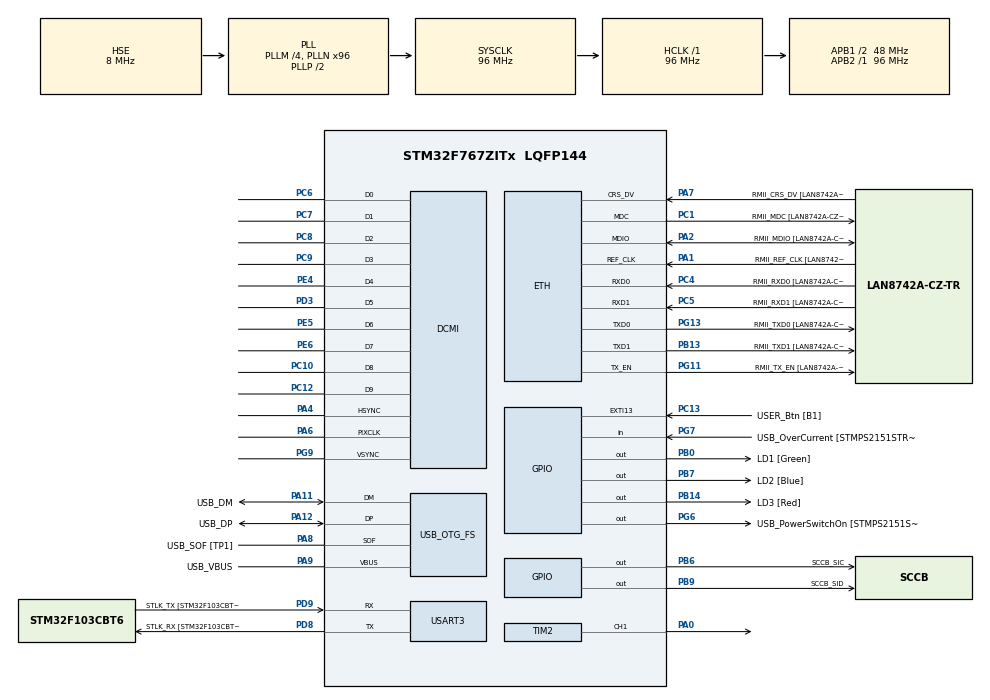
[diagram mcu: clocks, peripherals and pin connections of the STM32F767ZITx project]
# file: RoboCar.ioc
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DCMI.CaptureRate=DCMI_CR_ALTERNATE_4_FRAME
DCMI.PCKPolarity=DCMI_PCKPOLARITY_RISING
DCMI.VSPolarity=DCMI_VSPOLARITY_HIGH
Dma.DCMI.0.Direction=DMA_PERIPH_TO_MEMORY
Dma.DCMI.0.FIFOMode=DMA_FIFOMODE_DISABLE
Dma.DCMI.0.Instance=DMA2_Stream1
Dma.DCMI.0.MemDataAlignment=DMA_MDATAALIGN_WORD
Dma.DCMI.0.MemInc=DMA_MINC_ENABLE
Dma.DCMI.0.Mode=DMA_NORMAL
Dma.DCMI.0.PeriphDataAlignment=DMA_PDATAALIGN_WORD
Dma.DCMI.0.PeriphInc=DMA_PINC_DISABLE
Dma.DCMI.0.Priority=DMA_PRIORITY_HIGH
Dma.Request0=DCMI
ETH.MediaInterface=ETH_MEDIA_INTERFACE_RMII
ETH.PHY_Name=LAN8742A_PHY_ADDRESS
ETH.PHY_Value=0
ETH.PhyAddress=0
Mcu.Family=STM32F7
Mcu.Name=STM32F767ZITx
Mcu.Package=LQFP144
NVIC.DMA2_Stream1_IRQn=true\:0\:0\:false\:false\:true\:false\:true
NVIC.PriorityGroup=NVIC_PRIORITYGROUP_4
NVIC.TIM3_IRQn=true\:0\:0\:false\:false\:true\:false\:true
NVIC.TimeBase=TIM3_IRQn
NVIC.TimeBaseIP=TIM3
PA0/WKUP.Signal=S_TIM2_CH1_ETR
PA1.GPIO_Label=RMII_REF_CLK [LAN8742A-CZ-TR_REFCLK0]
PA1.Mode=RMII
PA1.Signal=ETH_REF_CLK
PA10.GPIO_Label=USB_ID
PA10.Signal=USB_OTG_FS_ID
PA11.GPIO_Label=USB_DM
PA11.Mode=Device_Only
PA11.Signal=USB_OTG_FS_DM
PA12.GPIO_Label=USB_DP
PA12.Mode=Device_Only
PA12.Signal=USB_OTG_FS_DP
PA13.GPIO_Label=TMS
PA13.Mode=Serial_Wire
PA13.Signal=SYS_JTMS-SWDIO
PA14.GPIO_Label=TCK
PA14.Mode=Serial_Wire
PA14.Signal=SYS_JTCK-SWCLK
PA2.GPIO_Label=RMII_MDIO [LAN8742A-CZ-TR_MDIO]
PA2.Mode=RMII
PA2.Signal=ETH_MDIO
PA4.Mode=Slave_10_bits_External_Synchro
PA4.Signal=DCMI_HSYNC
PA6.Mode=Slave_10_bits_External_Synchro
PA6.Signal=DCMI_PIXCLK
PA7.GPIO_Label=RMII_CRS_DV [LAN8742A-CZ-TR_CRS_DV]
PA7.Mode=RMII
PA7.Signal=ETH_CRS_DV
PA8.GPIO_Label=USB_SOF [TP1]
PA8.Mode=Activate_SOF_FS
PA8.Signal=USB_OTG_FS_SOF
PA9.GPIO_Label=USB_VBUS
PA9.Mode=Activate_VBUS
PA9.Signal=USB_OTG_FS_VBUS
PB0.GPIO_Label=LD1 [Green]
PB0.Signal=GPIO_Output
PB13.GPIO_Label=RMII_TXD1 [LAN8742A-CZ-TR_TXD1]
PB13.Mode=RMII
PB13.Signal=ETH_TXD1
PB14.GPIO_Label=LD3 [Red]
PB14.Signal=GPIO_Output
PB3.GPIO_Label=SWO
PB3.Signal=SYS_JTDO-SWO
PB6.GPIO_Label=SCCB_SIC
PB6.GPIO_ModeDefaultOutputPP=GPIO_MODE_OUTPUT_OD
PB6.GPIO_Speed=GPIO_SPEED_FREQ_VERY_HIGH
PB6.PinState=GPIO_PIN_SET
PB6.Signal=GPIO_Output
PB7.GPIO_Label=LD2 [Blue]
PB7.Signal=GPIO_Output
PB9.GPIO_Label=SCCB_SID
PB9.GPIO_ModeDefaultOutputPP=GPIO_MODE_OUTPUT_OD
PB9.GPIO_Speed=GPIO_SPEED_FREQ_VERY_HIGH
PB9.PinState=GPIO_PIN_SET
PB9.Signal=GPIO_Output
PC1.GPIO_Label=RMII_MDC [LAN8742A-CZ-TR_MDC]
PC1.Mode=RMII
PC1.Signal=ETH_MDC
PC10.Mode=Slave_10_bits_External_Synchro
PC10.Signal=DCMI_D8
PC12.Mode=Slave_10_bits_External_Synchro
PC12.Signal=DCMI_D9
PC13.GPIO_Label=USER_Btn [B1]
PC13.Signal=GPXTI13
PC14/OSC32_IN.Mode=LSE-External-Oscillator
PC14/OSC32_IN.Signal=RCC_OSC32_IN
PC15/OSC32_OUT.Mode=LSE-External-Oscillator
PC15/OSC32_OUT.Signal=RCC_OSC32_OUT
PC4.GPIO_Label=RMII_RXD0 [LAN8742A-CZ-TR_RXD0]
PC4.Mode=RMII
PC4.Signal=ETH_RXD0
PC5.GPIO_Label=RMII_RXD1 [LAN8742A-CZ-TR_RXD1]
PC5.Mode=RMII
PC5.Signal=ETH_RXD1
PC6.Mode=Slave_10_bits_External_Synchro
PC6.Signal=DCMI_D0
PC7.Mode=Slave_10_bits_External_Synchro
PC7.Signal=DCMI_D1
PC8.Mode=Slave_10_bits_External_Synchro
PC8.Signal=DCMI_D2
PC9.Mode=Slave_10_bits_External_Synchro
PC9.Signal=DCMI_D3
PD3.Mode=Slave_10_bits_External_Synchro
PD3.Signal=DCMI_D5
PD8.GPIO_Label=STLK_RX [STM32F103CBT6_PA3]
PD8.Mode=Asynchronous
PD8.Signal=USART3_TX
PD9.GPIO_Label=STLK_TX [STM32F103CBT6_PA2]
PD9.Mode=Asynchronous
PD9.Signal=USART3_RX
PE4.Mode=Slave_10_bits_External_Synchro
PE4.Signal=DCMI_D4
PE5.Mode=Slave_10_bits_External_Synchro
PE5.Signal=DCMI_D6
PE6.Mode=Slave_10_bits_External_Synchro
PE6.Signal=DCMI_D7
PG11.GPIO_Label=RMII_TX_EN [LAN8742A-CZ-TR_TXEN]
PG11.Mode=RMII
PG11.Signal=ETH_TX_EN
PG13.GPIO_Label=RMII_TXD0 [LAN8742A-CZ-TR_TXD0]
PG13.Mode=RMII
PG13.Signal=ETH_TXD0
PG6.GPIO_Label=USB_PowerSwitchOn [STMPS2151STR_EN]
PG6.Signal=GPIO_Output
PG7.GPIO_Label=USB_OverCurrent [STMPS2151STR_FAULT]
PG7.Signal=GPIO_Input
PG9.Mode=Slave_10_bits_External_Synchro
PG9.Signal=DCMI_VSYNC
PH0/OSC_IN.GPIO_Label=MCO [STM32F103CBT6_PA8]
PH0/OSC_IN.Mode=HSE-External-Clock-Source
PH0/OSC_IN.Signal=RCC_OSC_IN
PH1/OSC_OUT.Mode=HSE-External-Clock-Source
PH1/OSC_OUT.Signal=RCC_OSC_OUT
ProjectManager.HeapSize=0x200
ProjectManager.StackSize=0x400
ProjectManager.TargetToolchain=STM32CubeIDE
RCC.48MHZClocksFreq_Value=24000000
RCC.AHBFreq_Value=96000000
RCC.APB1CLKDivider=RCC_HCLK_DIV2
RCC.APB1Freq_Value=48000000
RCC.APB1TimFreq_Value=96000000
RCC.APB2Freq_Value=96000000
RCC.APB2TimFreq_Value=96000000
RCC.CortexFreq_Value=96000000
RCC.HCLKFreq_Value=96000000
RCC.HSE_VALUE=8000000
RCC.HSI_VALUE=16000000
RCC.PLLM=4
RCC.PLLMUL=RCC_PLL_MUL9
RCC.PLLN=96
RCC.PLLQ=4
RCC.PRESCALERUSB=RCC_USBCLKSOURCE_PLL_DIV1_5
RCC.SYSCLKFreq_VALUE=96000000
RCC.SYSCLKSource=RCC_SYSCLKSOURCE_PLLCLK
RCC.SYSCLKSourceVirtual=RCC_SYSCLKSOURCE_PLLCLK
RCC.USBFreq_Value=48000000
RCC.VCOOutputFreq_Value=192000000
SH.S_TIM2_CH1_ETR.0=TIM2_CH1,PWM Generation1 CH1
TIM1.Prescaler=0
TIM2.Channel-PWM\ Generation1\ CH1=TIM_CHANNEL_1
TIM2.Period=4
TIM2.Prescaler=0
TIM2.Pulse-PWM\ Generation1\ CH1=2
USART3.VirtualMode-Asynchronous=VM_ASYNC
USB_OTG_FS.VirtualMode=Device_Only
VP_SYS_VS_tim3.Mode=TIM3
VP_TIM1_VS_ClockSourceINT.Mode=Internal
board=NUCLEO-F767ZI

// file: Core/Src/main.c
/* USER CODE BEGIN Header */
/**
  ******************************************************************************
  * @file           : main.c
  * @brief          : Main program body
  ******************************************************************************
  * @attention
  *
  * <h2><center>&copy; Copyright (c) 2020 STMicroelectronics.
  * All rights reserved.</center></h2>
  *
  * This software component is licensed by ST under BSD 3-Clause license,
  * the "License"; You may not use this file except in compliance with the
  * License. You may obtain a copy of the License at:
  *                        opensource.org/licenses/BSD-3-Clause
  *
  ******************************************************************************
  */
/* USER CODE END Header */
#include "main.h"

/* USER CODE BEGIN Includes */
#include "cambus.h"
#include "ov7725.h"
#include "delay.h"
#include "sccb.h"
/* USER CODE END Includes */

/* USER CODE BEGIN PD */
#define IMG_SIZE (250*330)
/* USER CODE END PD */

DCMI_HandleTypeDef hdcmi;
DMA_HandleTypeDef hdma_dcmi;

ETH_HandleTypeDef heth;

TIM_HandleTypeDef htim1;
TIM_HandleTypeDef htim2;

UART_HandleTypeDef huart3;

PCD_HandleTypeDef hpcd_USB_OTG_FS;

/* USER CODE BEGIN PV */
void HAL_DCMI_LineEventCallback(DCMI_HandleTypeDef *hdcmi)
{
	HAL_GPIO_WritePin(LD2_GPIO_Port, LD2_Pin, GPIO_PIN_SET);
}

void HAL_DCMI_FrameEventCallback(DCMI_HandleTypeDef *hdcmi)
{
	HAL_GPIO_WritePin(LD1_GPIO_Port, LD1_Pin, GPIO_PIN_SET);
}

/* USER CODE END PV */

void SystemClock_Config(void);
static void MX_GPIO_Init(void);
static void MX_DMA_Init(void);
static void MX_ETH_Init(void);
static void MX_USART3_UART_Init(void);
static void MX_USB_OTG_FS_PCD_Init(void);
static void MX_DCMI_Init(void);
static void MX_TIM1_Init(void);
static void MX_TIM2_Init(void);

/* USER CODE BEGIN 0 */

uint8_t img[IMG_SIZE] = {0};

/* USER CODE END 0 */

int main(void)
{

  /* MCU Configuration--------------------------------------------------------*/

  /* Reset of all peripherals, Initializes the Flash interface and the Systick. */
  HAL_Init();

  /* Configure the system clock */
  SystemClock_Config();

  /* Initialize all configured peripherals */
  MX_GPIO_Init();
  MX_DMA_Init();
  MX_ETH_Init();
  MX_USART3_UART_Init();
  MX_USB_OTG_FS_PCD_Init();
  MX_DCMI_Init();
  MX_TIM1_Init();
  MX_TIM2_Init();
  /* USER CODE BEGIN 2 */

  HAL_TIM_Base_Start(&htim1);
  HAL_TIM_PWM_Start(&htim2, TIM_CHANNEL_1);
  delay_us_init(&htim1);
  delay_us(5);

  uint8_t data;
  sccb_read(0x0A, &data);

//  SCCB_SID_H();
//  SCCB_SIC_H();
//  delay_us(1);

  // SCL is high, set SDA from 1 to 0.

//  SCCB_SID_L();
//  delay_us(3);
//  SCCB_SIC_L();
//  delay_us(4);

//  uint8_t err = set_framesize();
//  if (!err) HAL_GPIO_WritePin(LD1_GPIO_Port, LD1_Pin, GPIO_PIN_SET);
//
//  err = set_pixformat();
//  if (!err) HAL_GPIO_WritePin(LD2_GPIO_Port, LD2_Pin, GPIO_PIN_SET);
//
//  if (HAL_DCMI_Start_DMA(&hdcmi, DCMI_MODE_CONTINUOUS, (uint32_t)img, IMG_SIZE) != HAL_OK) {
//	  HAL_GPIO_WritePin(LD3_GPIO_Port, LD3_Pin, GPIO_PIN_SET);
//  }

  HAL_Delay(1000);
  HAL_GPIO_WritePin(LD1_GPIO_Port, LD1_Pin, GPIO_PIN_SET);
  HAL_GPIO_WritePin(LD2_GPIO_Port, LD2_Pin, GPIO_PIN_SET);
  HAL_GPIO_WritePin(LD3_GPIO_Port, LD3_Pin, GPIO_PIN_SET);
  /* USER CODE END 2 */

  /* Infinite loop */
  /* USER CODE BEGIN WHILE */
	while (1)
	{
	  HAL_Delay(10);
//	  if (HAL_DMA_GetState(&hdma_dcmi) == HAL_DMA_STATE_BUSY)
//		  HAL_GPIO_WritePin(LD3_GPIO_Port, LD3_Pin, GPIO_PIN_SET);
//	  else
//		  HAL_GPIO_WritePin(LD3_GPIO_Port, LD3_Pin, GPIO_PIN_RESET);
//
//	  if (HAL_DCMI_GetState(&hdcmi) == HAL_DCMI_STATE_BUSY)
//			  HAL_GPIO_WritePin(LD2_GPIO_Port, LD2_Pin, GPIO_PIN_SET);
//		  else
//			  HAL_GPIO_WritePin(LD2_GPIO_Port, LD2_Pin, GPIO_PIN_RESET);
    /* USER CODE END WHILE */

	}
}

void SystemClock_Config(void)
{
  RCC_OscInitTypeDef RCC_OscInitStruct = {0};
  RCC_ClkInitTypeDef RCC_ClkInitStruct = {0};
  RCC_PeriphCLKInitTypeDef PeriphClkInitStruct = {0};

  /** Configure LSE Drive Capability
  */
  HAL_PWR_EnableBkUpAccess();
  /** Configure the main internal regulator output voltage
  */
  __HAL_RCC_PWR_CLK_ENABLE();
  __HAL_PWR_VOLTAGESCALING_CONFIG(PWR_REGULATOR_VOLTAGE_SCALE3);
  /** Initializes the RCC Oscillators according to the specified parameters
  * in the RCC_OscInitTypeDef structure.
  */
  RCC_OscInitStruct.OscillatorType = RCC_OSCILLATORTYPE_HSE;
  RCC_OscInitStruct.HSEState = RCC_HSE_BYPASS;
  RCC_OscInitStruct.PLL.PLLState = RCC_PLL_ON;
  RCC_OscInitStruct.PLL.PLLSource = RCC_PLLSOURCE_HSE;
  RCC_OscInitStruct.PLL.PLLM = 4;
  RCC_OscInitStruct.PLL.PLLN = 96;
  RCC_OscInitStruct.PLL.PLLP = RCC_PLLP_DIV2;
  RCC_OscInitStruct.PLL.PLLQ = 4;
  if (HAL_RCC_OscConfig(&RCC_OscInitStruct) != HAL_OK)
  {
    Error_Handler();
  }
  /** Activate the Over-Drive mode
  */
  if (HAL_PWREx_EnableOverDrive() != HAL_OK)
  {
    Error_Handler();
  }
  /** Initializes the CPU, AHB and APB buses clocks
  */
  RCC_ClkInitStruct.ClockType = RCC_CLOCKTYPE_HCLK|RCC_CLOCKTYPE_SYSCLK
                              |RCC_CLOCKTYPE_PCLK1|RCC_CLOCKTYPE_PCLK2;
  RCC_ClkInitStruct.SYSCLKSource = RCC_SYSCLKSOURCE_PLLCLK;
  RCC_ClkInitStruct.AHBCLKDivider = RCC_SYSCLK_DIV1;
  RCC_ClkInitStruct.APB1CLKDivider = RCC_HCLK_DIV2;
  RCC_ClkInitStruct.APB2CLKDivider = RCC_HCLK_DIV1;

  if (HAL_RCC_ClockConfig(&RCC_ClkInitStruct, FLASH_LATENCY_3) != HAL_OK)
  {
    Error_Handler();
  }
  PeriphClkInitStruct.PeriphClockSelection = RCC_PERIPHCLK_USART3|RCC_PERIPHCLK_CLK48;
  PeriphClkInitStruct.Usart3ClockSelection = RCC_USART3CLKSOURCE_PCLK1;
  PeriphClkInitStruct.Clk48ClockSelection = RCC_CLK48SOURCE_PLL;
  if (HAL_RCCEx_PeriphCLKConfig(&PeriphClkInitStruct) != HAL_OK)
  {
    Error_Handler();
  }
}

static void MX_DCMI_Init(void)
{

  hdcmi.Instance = DCMI;
  hdcmi.Init.SynchroMode = DCMI_SYNCHRO_HARDWARE;
  hdcmi.Init.PCKPolarity = DCMI_PCKPOLARITY_RISING;
  hdcmi.Init.VSPolarity = DCMI_VSPOLARITY_HIGH;
  hdcmi.Init.HSPolarity = DCMI_HSPOLARITY_LOW;
  hdcmi.Init.CaptureRate = DCMI_CR_ALTERNATE_4_FRAME;
  hdcmi.Init.ExtendedDataMode = DCMI_EXTEND_DATA_10B;
  hdcmi.Init.JPEGMode = DCMI_JPEG_DISABLE;
  hdcmi.Init.ByteSelectMode = DCMI_BSM_ALL;
  hdcmi.Init.ByteSelectStart = DCMI_OEBS_ODD;
  hdcmi.Init.LineSelectMode = DCMI_LSM_ALL;
  hdcmi.Init.LineSelectStart = DCMI_OELS_ODD;
  if (HAL_DCMI_Init(&hdcmi) != HAL_OK)
  {
    Error_Handler();
  }

}

static void MX_ETH_Init(void)
{

  heth.Instance = ETH;
  heth.Init.AutoNegotiation = ETH_AUTONEGOTIATION_ENABLE;
  heth.Init.PhyAddress = LAN8742A_PHY_ADDRESS;
  heth.Init.MACAddr[0] =   0x00;
  heth.Init.MACAddr[1] =   0x80;
  heth.Init.MACAddr[2] =   0xE1;
  heth.Init.MACAddr[3] =   0x00;
  heth.Init.MACAddr[4] =   0x00;
  heth.Init.MACAddr[5] =   0x00;
  heth.Init.RxMode = ETH_RXPOLLING_MODE;
  heth.Init.ChecksumMode = ETH_CHECKSUM_BY_HARDWARE;
  heth.Init.MediaInterface = ETH_MEDIA_INTERFACE_RMII;

  if (HAL_ETH_Init(&heth) != HAL_OK)
  {
    Error_Handler();
  }

}

static void MX_TIM1_Init(void)
{

  TIM_ClockConfigTypeDef sClockSourceConfig = {0};
  TIM_MasterConfigTypeDef sMasterConfig = {0};

  htim1.Instance = TIM1;
  htim1.Init.Prescaler = 0;
  htim1.Init.CounterMode = TIM_COUNTERMODE_UP;
  htim1.Init.Period = 65535;
  htim1.Init.ClockDivision = TIM_CLOCKDIVISION_DIV1;
  htim1.Init.RepetitionCounter = 0;
  htim1.Init.AutoReloadPreload = TIM_AUTORELOAD_PRELOAD_DISABLE;
  if (HAL_TIM_Base_Init(&htim1) != HAL_OK)
  {
    Error_Handler();
  }
  sClockSourceConfig.ClockSource = TIM_CLOCKSOURCE_INTERNAL;
  if (HAL_TIM_ConfigClockSource(&htim1, &sClockSourceConfig) != HAL_OK)
  {
    Error_Handler();
  }
  sMasterConfig.MasterOutputTrigger = TIM_TRGO_RESET;
  sMasterConfig.MasterOutputTrigger2 = TIM_TRGO2_RESET;
  sMasterConfig.MasterSlaveMode = TIM_MASTERSLAVEMODE_DISABLE;
  if (HAL_TIMEx_MasterConfigSynchronization(&htim1, &sMasterConfig) != HAL_OK)
  {
    Error_Handler();
  }

}

static void MX_TIM2_Init(void)
{

  /* USER CODE BEGIN TIM2_Init 0 */
    int frequency = 16000000;
    int pclk = HAL_RCC_GetPCLK2Freq();
    int period = (pclk / frequency) - 1;
  /* USER CODE END TIM2_Init 0 */

  TIM_MasterConfigTypeDef sMasterConfig = {0};
  TIM_OC_InitTypeDef sConfigOC = {0};

  htim2.Instance = TIM2;
  htim2.Init.Prescaler = 0;
  htim2.Init.CounterMode = TIM_COUNTERMODE_UP;
  htim2.Init.Period = 4;
  htim2.Init.ClockDivision = TIM_CLOCKDIVISION_DIV1;
  htim2.Init.AutoReloadPreload = TIM_AUTORELOAD_PRELOAD_DISABLE;
  if (HAL_TIM_PWM_Init(&htim2) != HAL_OK)
  {
    Error_Handler();
  }
  sMasterConfig.MasterOutputTrigger = TIM_TRGO_RESET;
  sMasterConfig.MasterSlaveMode = TIM_MASTERSLAVEMODE_DISABLE;
  if (HAL_TIMEx_MasterConfigSynchronization(&htim2, &sMasterConfig) != HAL_OK)
  {
    Error_Handler();
  }
  sConfigOC.OCMode = TIM_OCMODE_PWM1;
  sConfigOC.Pulse = 2;
  sConfigOC.OCPolarity = TIM_OCPOLARITY_HIGH;
  sConfigOC.OCFastMode = TIM_OCFAST_DISABLE;
  if (HAL_TIM_PWM_ConfigChannel(&htim2, &sConfigOC, TIM_CHANNEL_1) != HAL_OK)
  {
    Error_Handler();
  }
  HAL_TIM_MspPostInit(&htim2);

}

static void MX_USART3_UART_Init(void)
{

  huart3.Instance = USART3;
  huart3.Init.BaudRate = 115200;
  huart3.Init.WordLength = UART_WORDLENGTH_8B;
  huart3.Init.StopBits = UART_STOPBITS_1;
  huart3.Init.Parity = UART_PARITY_NONE;
  huart3.Init.Mode = UART_MODE_TX_RX;
  huart3.Init.HwFlowCtl = UART_HWCONTROL_NONE;
  huart3.Init.OverSampling = UART_OVERSAMPLING_16;
  huart3.Init.OneBitSampling = UART_ONE_BIT_SAMPLE_DISABLE;
  huart3.AdvancedInit.AdvFeatureInit = UART_ADVFEATURE_NO_INIT;
  if (HAL_UART_Init(&huart3) != HAL_OK)
  {
    Error_Handler();
  }

}

static void MX_USB_OTG_FS_PCD_Init(void)
{

  hpcd_USB_OTG_FS.Instance = USB_OTG_FS;
  hpcd_USB_OTG_FS.Init.dev_endpoints = 6;
  hpcd_USB_OTG_FS.Init.speed = PCD_SPEED_FULL;
  hpcd_USB_OTG_FS.Init.dma_enable = DISABLE;
  hpcd_USB_OTG_FS.Init.phy_itface = PCD_PHY_EMBEDDED;
  hpcd_USB_OTG_FS.Init.Sof_enable = ENABLE;
  hpcd_USB_OTG_FS.Init.low_power_enable = DISABLE;
  hpcd_USB_OTG_FS.Init.lpm_enable = DISABLE;
  hpcd_USB_OTG_FS.Init.vbus_sensing_enable = ENABLE;
  hpcd_USB_OTG_FS.Init.use_dedicated_ep1 = DISABLE;
  if (HAL_PCD_Init(&hpcd_USB_OTG_FS) != HAL_OK)
  {
    Error_Handler();
  }

}

static void MX_DMA_Init(void)
{

  /* DMA controller clock enable */
  __HAL_RCC_DMA2_CLK_ENABLE();

  /* DMA interrupt init */
  /* DMA2_Stream1_IRQn interrupt configuration */
  HAL_NVIC_SetPriority(DMA2_Stream1_IRQn, 0, 0);
  HAL_NVIC_EnableIRQ(DMA2_Stream1_IRQn);

}

static void MX_GPIO_Init(void)
{
  LL_EXTI_InitTypeDef EXTI_InitStruct = {0};
  LL_GPIO_InitTypeDef GPIO_InitStruct = {0};

  /* GPIO Ports Clock Enable */
  LL_AHB1_GRP1_EnableClock(LL_AHB1_GRP1_PERIPH_GPIOE);
  LL_AHB1_GRP1_EnableClock(LL_AHB1_GRP1_PERIPH_GPIOC);
  LL_AHB1_GRP1_EnableClock(LL_AHB1_GRP1_PERIPH_GPIOH);
  LL_AHB1_GRP1_EnableClock(LL_AHB1_GRP1_PERIPH_GPIOA);
  LL_AHB1_GRP1_EnableClock(LL_AHB1_GRP1_PERIPH_GPIOB);
  LL_AHB1_GRP1_EnableClock(LL_AHB1_GRP1_PERIPH_GPIOD);
  LL_AHB1_GRP1_EnableClock(LL_AHB1_GRP1_PERIPH_GPIOG);

  /**/
  LL_GPIO_ResetOutputPin(LD1_GPIO_Port, LD1_Pin);

  /**/
  LL_GPIO_ResetOutputPin(LD3_GPIO_Port, LD3_Pin);

  /**/
  LL_GPIO_ResetOutputPin(USB_PowerSwitchOn_GPIO_Port, USB_PowerSwitchOn_Pin);

  /**/
  LL_GPIO_ResetOutputPin(LD2_GPIO_Port, LD2_Pin);

  /**/
  LL_GPIO_SetOutputPin(SCCB_SIC_GPIO_Port, SCCB_SIC_Pin);

  /**/
  LL_GPIO_SetOutputPin(SCCB_SID_GPIO_Port, SCCB_SID_Pin);

  /**/
  LL_SYSCFG_SetEXTISource(LL_SYSCFG_EXTI_PORTC, LL_SYSCFG_EXTI_LINE13);

  /**/
  EXTI_InitStruct.Line_0_31 = LL_EXTI_LINE_13;
  EXTI_InitStruct.LineCommand = ENABLE;
  EXTI_InitStruct.Mode = LL_EXTI_MODE_IT;
  EXTI_InitStruct.Trigger = LL_EXTI_TRIGGER_RISING;
  LL_EXTI_Init(&EXTI_InitStruct);

  /**/
  LL_GPIO_SetPinPull(USER_Btn_GPIO_Port, USER_Btn_Pin, LL_GPIO_PULL_NO);

  /**/
  LL_GPIO_SetPinMode(USER_Btn_GPIO_Port, USER_Btn_Pin, LL_GPIO_MODE_INPUT);

  /**/
  GPIO_InitStruct.Pin = LD1_Pin;
  GPIO_InitStruct.Mode = LL_GPIO_MODE_OUTPUT;
  GPIO_InitStruct.Speed = LL_GPIO_SPEED_FREQ_LOW;
  GPIO_InitStruct.OutputType = LL_GPIO_OUTPUT_PUSHPULL;
  GPIO_InitStruct.Pull = LL_GPIO_PULL_NO;
  LL_GPIO_Init(LD1_GPIO_Port, &GPIO_InitStruct);

  /**/
  GPIO_InitStruct.Pin = LD3_Pin;
  GPIO_InitStruct.Mode = LL_GPIO_MODE_OUTPUT;
  GPIO_InitStruct.Speed = LL_GPIO_SPEED_FREQ_LOW;
  GPIO_InitStruct.OutputType = LL_GPIO_OUTPUT_PUSHPULL;
  GPIO_InitStruct.Pull = LL_GPIO_PULL_NO;
  LL_GPIO_Init(LD3_GPIO_Port, &GPIO_InitStruct);

  /**/
  GPIO_InitStruct.Pin = USB_PowerSwitchOn_Pin;
  GPIO_InitStruct.Mode = LL_GPIO_MODE_OUTPUT;
  GPIO_InitStruct.Speed = LL_GPIO_SPEED_FREQ_LOW;
  GPIO_InitStruct.OutputType = LL_GPIO_OUTPUT_PUSHPULL;
  GPIO_InitStruct.Pull = LL_GPIO_PULL_NO;
  LL_GPIO_Init(USB_PowerSwitchOn_GPIO_Port, &GPIO_InitStruct);

  /**/
  GPIO_InitStruct.Pin = USB_OverCurrent_Pin;
  GPIO_InitStruct.Mode = LL_GPIO_MODE_INPUT;
  GPIO_InitStruct.Pull = LL_GPIO_PULL_NO;
  LL_GPIO_Init(USB_OverCurrent_GPIO_Port, &GPIO_InitStruct);

  /**/
  GPIO_InitStruct.Pin = SCCB_SIC_Pin;
  GPIO_InitStruct.Mode = LL_GPIO_MODE_OUTPUT;
  GPIO_InitStruct.Speed = LL_GPIO_SPEED_FREQ_VERY_HIGH;
  GPIO_InitStruct.OutputType = LL_GPIO_OUTPUT_OPENDRAIN;
  GPIO_InitStruct.Pull = LL_GPIO_PULL_NO;
  LL_GPIO_Init(SCCB_SIC_GPIO_Port, &GPIO_InitStruct);

  /**/
  GPIO_InitStruct.Pin = LD2_Pin;
  GPIO_InitStruct.Mode = LL_GPIO_MODE_OUTPUT;
  GPIO_InitStruct.Speed = LL_GPIO_SPEED_FREQ_LOW;
  GPIO_InitStruct.OutputType = LL_GPIO_OUTPUT_PUSHPULL;
  GPIO_InitStruct.Pull = LL_GPIO_PULL_NO;
  LL_GPIO_Init(LD2_GPIO_Port, &GPIO_InitStruct);

  /**/
  GPIO_InitStruct.Pin = SCCB_SID_Pin;
  GPIO_InitStruct.Mode = LL_GPIO_MODE_OUTPUT;
  GPIO_InitStruct.Speed = LL_GPIO_SPEED_FREQ_VERY_HIGH;
  GPIO_InitStruct.OutputType = LL_GPIO_OUTPUT_OPENDRAIN;
  GPIO_InitStruct.Pull = LL_GPIO_PULL_NO;
  LL_GPIO_Init(SCCB_SID_GPIO_Port, &GPIO_InitStruct);

}

void HAL_TIM_PeriodElapsedCallback(TIM_HandleTypeDef *htim)
{
  if (htim->Instance == TIM3) {
    HAL_IncTick();
  }
}

void Error_Handler(void)
{
}

/************************ (C) COPYRIGHT STMicroelectronics *****END OF FILE****/
